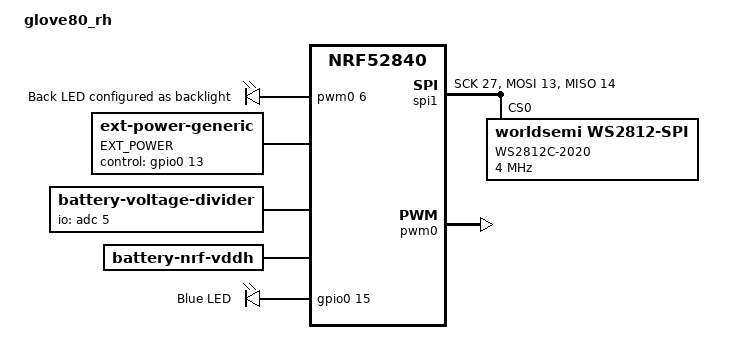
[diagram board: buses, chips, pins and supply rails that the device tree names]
/*
 * Copyright (c) 2021 The ZMK Contributors
 *
 * SPDX-License-Identifier: MIT
 */

/dts-v1/;
#include <nordic/nrf52840_qiaa.dtsi>
#include <dt-bindings/led/led.h>
#include "glove80.dtsi"

/ {
	model = "glove80_rh";
	compatible = "glove80_rh";

	chosen {
		zmk,underglow = &led_strip;
        zmk,backlight = &back_led_backlight;
		zmk,battery   = &vbatt;
	};

	back_led_backlight: pwmleds {
		compatible = "pwm-leds";
		label = "BACK LED";
		pwm_led_0 {
			pwms = <&pwm0 6>; 
			label = "Back LED configured as backlight";
		};
	};

	ext-power {
		compatible = "zmk,ext-power-generic";
		label = "EXT_POWER";
		control-gpios = <&gpio0 13 GPIO_ACTIVE_HIGH>; /* WS2812_CE */
		init-delay-ms = <100>;
	};

vbatt: vbatt-divider {
		compatible = "zmk,battery-voltage-divider";
		label = "BATTERY";
		io-channels = <&adc 5>;
		output-ohms = <820000>; /** Double check that this is right */
		full-ohms = <(1500000 + 820000)>;
	};

	vbatt: vbatt {
		compatible = "zmk,battery-nrf-vddh";
		label = "BATTERY";
	};


	leds {
		leds {
		compatible = "gpio-leds";
		blue_led: led_0 {
			gpios = <&gpio0 15 GPIO_ACTIVE_HIGH>;
			label = "Blue LED";
		};
	};
  };

/*
  27 LEDs

  
            10 11 18 19 24 25
            9  12 17 20 23 26
            8  13 16 21 22 27
 1 2 3 *  7   14   15 
 6 5 4 *                       
*/

	underglow_indicators: underglow-indicators {
		compatible  = "zmk,underglow-indicators";
		layer-state = <25 24 19 18 11 10>;
		bat-lhs     = <26 23 20 17 12 9>;
		bat-rhs     = <27 22 21 16 13 8>;
		capslock    = <15>;
		numlock     = <14>;
		scrolllock  = <10>;
		ble-state   = <3 4 0 1>;
		usb-state   = <5>;
		output-fallback = <25>;
	};
};


&spi1 {
	compatible = "nordic,nrf-spim";
	/* Cannot be used together with i2c0. */
	status = "okay";
	mosi-pin = <13>; /* WS2812_VEXT_DATA */
	// Unused pins, needed for SPI definition, but not used by the ws2812 driver itself.
	sck-pin = <27>; /* Must select a not connected pin */
	miso-pin = <14>; /* Must select a not connected pin */

	led_strip: ws2812@0 {
		compatible = "worldsemi,ws2812-spi";
		label = "WS2812C-2020";

		/* SPI */
		reg = <0>; /* ignored, but necessary for SPI bindings */
		spi-max-frequency = <4000000>;

		/* WS2812 */
		chain-length = <27>; /* 40 keys have underglow at the moment */
		spi-one-frame = <0x70>;
		spi-zero-frame = <0x40>;

		color-mapping = <LED_COLOR_ID_GREEN LED_COLOR_ID_RED LED_COLOR_ID_BLUE>;
	};
};

&pwm0 {
	status = "okay";
	ch0-pin = <6>; 
};


/* [SC] Pretty sure this is not required
&uart0 {
	compatible = "nordic,nrf-uarte";
	tx-pin = <6>;
	rx-pin = <8>;
};
*/

/* For right hand, the columns are offset by 7 */ 
&default_transform {
	col-offset = <6>;
};

&kscan0 {
	row-gpios
		= <&gpio0 22 (GPIO_ACTIVE_HIGH | GPIO_PULL_DOWN)> // RH ROW1
		, <&gpio0 24 (GPIO_ACTIVE_HIGH | GPIO_PULL_DOWN)> // RH ROW2
		, <&gpio0 0 (GPIO_ACTIVE_HIGH | GPIO_PULL_DOWN)> // RH ROW3
		, <&gpio1 11 (GPIO_ACTIVE_HIGH | GPIO_PULL_DOWN)> // RH ROW4
		;
	col-gpios
		= <&gpio1 11 GPIO_ACTIVE_HIGH> // RH Thumb
		, <&gpio1 13 GPIO_ACTIVE_HIGH> // RH COL1
		, <&gpio0 15 GPIO_ACTIVE_HIGH> // RH COL2
		, <&gpio1 2 GPIO_ACTIVE_HIGH> // RH COL3
		, <&gpio1 29 GPIO_ACTIVE_HIGH> // RH COL4
		, <&gpio1 31 GPIO_ACTIVE_HIGH> // RH COL5
		;

};

